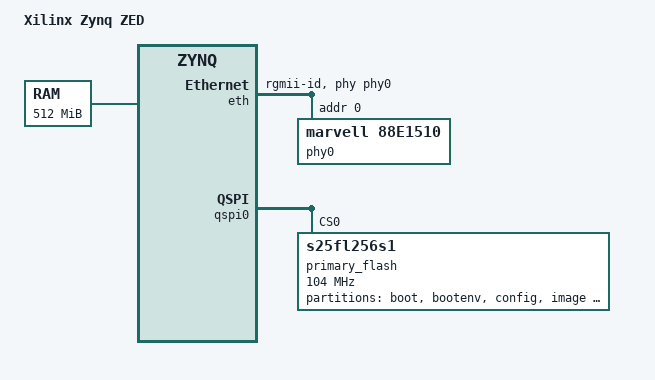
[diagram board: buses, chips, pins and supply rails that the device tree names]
/include/ "zynq.dtsi"

/ {
	model = "Xilinx Zynq ZED";
	memory {
		device_type = "memory";
		reg = <0x000000000 0x20000000>;
	};

	chosen {
		bootargs = "console=ttyPS0,115200 ubi.mtd=qspi-rootfs root=ubi0:qspi-rootfs rw rootfstype=ubifs rootwait";
		linux,stdout-path = "/amba@0/uart@E0001000";
	};
};

&eth {
	phy-handle = <&phy0>;
	phy-mode = "rgmii-id";

	phy0: phy@0 {
		compatible = "marvell,88e1510";
		device_type = "ethernet-phy";
		reg = <0x0>;
		marvell,reg-init=<3 16 0xff00 0x1e 3 17 0xfff0 0x0a>;
	};
};

&primary_flash {
	/* Specify flash chip to expect */
	compatible = "s25fl256s1";
	/* Max frequency for quad read is 104MHz according to data sheet */
	spi-max-frequency = <104000000>;
	/* Flash chip is 32MB, so add 16MB to the rootfs partition */
	partition@qspi-rootfs {
		label = "qspi-rootfs";
		reg = <0x480000 0x1b80000>;
	};
};

&usb {
	xlnx,phy-reset-gpio = <&gpio 85 0>;
};

&qspi0 {
	status = "okay";
	is-dual = <0>;
	num-cs = <1>;
	primary_flash: ps7-qspi@0 {
		#address-cells = <1>;
		#size-cells = <1>;
		compatible = "n25q128a11";
		reg = <0x0>;
		spi-max-frequency = <50000000>;
		partition@0x00000000 {
			label = "boot";
			reg = <0x00000000 0x00500000>;
		};
		partition@0x00500000 {
			label = "bootenv";
			reg = <0x00500000 0x00020000>;
		};
		partition@0x00520000 {
			label = "config";
			reg = <0x00520000 0x00020000>;
		};
		partition@0x00540000 {
			label = "image";
			reg = <0x00540000 0x00a80000>;
		};
		partition@0x00fc0000 {
			label = "spare";
			reg = <0x00fc0000 0x00000000>;
		};
	};
};
